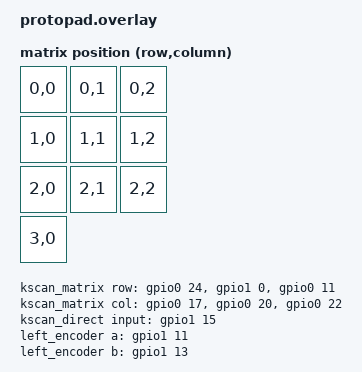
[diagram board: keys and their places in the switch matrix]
/*
 * Copyright (c) 2024 Joshua Wiens
 * SPDX-License-Identifier: MIT
 * 
 * 3x3 Matrix Configuration + Rotary Encoder with LED control
 * Columns: Pins 17, 20, 22 (all on GPIO port 0)
 * Rows: Pin 24 (GPIO 0.24), Pin 100 (GPIO 1.00), Pin 11 (GPIO 0.11)
 * Encoder: SW=Pin 115 (GPIO 1.15), A=Pin 111 (GPIO 1.11), B=Pin 113 (GPIO 1.13)
 * Blue LED: Pin 0.15 (nice!nano v2)
 */

#include <dt-bindings/zmk/matrix_transform.h>
#include <dt-bindings/led/led.h>

/ {
    chosen {
        zmk,kscan = &kscan0;
        zmk,matrix_transform = &default_transform;
    };

    default_transform: keymap_transform_0 {
        compatible = "zmk,matrix-transform";
        columns = <3>;
        rows = <4>;
        map = <
            RC(0,0) RC(0,1) RC(0,2)
            RC(1,0) RC(1,1) RC(1,2)
            RC(2,0) RC(2,1) RC(2,2)
            RC(3,0)  // Encoder button position
        >;
    };

    kscan0: kscan_0 {
        compatible = "zmk,kscan-composite";
        label = "KSCAN";
        rows = <4>;
        columns = <3>;
        
        matrix {
            kscan = <&kscan_matrix>;
        };
        
        direct {
            kscan = <&kscan_direct>;
            row-offset = <3>;
            column-offset = <0>;
        };
    };
    
    kscan_matrix: kscan_matrix {
        compatible = "zmk,kscan-gpio-matrix";
        label = "KSCAN_MATRIX";
        
        diode-direction = "col2row";
        poll-period-ms = <10>;
        
        col-gpios
            = <&gpio0 17 GPIO_ACTIVE_HIGH>
            , <&gpio0 20 GPIO_ACTIVE_HIGH>
            , <&gpio0 22 GPIO_ACTIVE_HIGH>
            ;
            
        row-gpios
            = <&gpio0 24 (GPIO_ACTIVE_HIGH | GPIO_PULL_DOWN)>
            , <&gpio1 0 (GPIO_ACTIVE_HIGH | GPIO_PULL_DOWN)>
            , <&gpio0 11 (GPIO_ACTIVE_HIGH | GPIO_PULL_DOWN)>
            ;
    };
    
    kscan_direct: kscan_direct {
        compatible = "zmk,kscan-gpio-direct";
        label = "KSCAN_DIRECT";
        
        input-gpios
            = <&gpio1 15 (GPIO_ACTIVE_LOW | GPIO_PULL_UP)>  // SW on pin 115
            ;
    };
    
    // Rotary encoder configuration
    left_encoder: encoder_left {
        compatible = "alps,ec11";
        label = "LEFT_ENCODER";
        a-gpios = <&gpio1 11 (GPIO_ACTIVE_HIGH | GPIO_PULL_UP)>;  // A on pin 111
        b-gpios = <&gpio1 13 (GPIO_ACTIVE_HIGH | GPIO_PULL_UP)>;  // B on pin 113
        steps: <80>
        resolution = <4>;
        status = "okay";
    };
    
    sensors {
        compatible = "zmk,keymap-sensors";
        sensors = <&left_encoder>;
    };
    
    // LED configuration for nice!nano blue LED
    led_indicators {
        compatible = "gpio-leds";
        blue_led: led_0 {
            gpios = <&gpio0 15 GPIO_ACTIVE_HIGH>;  // nice!nano v2 blue LED
            label = "Blue LED";
        };
    };
};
